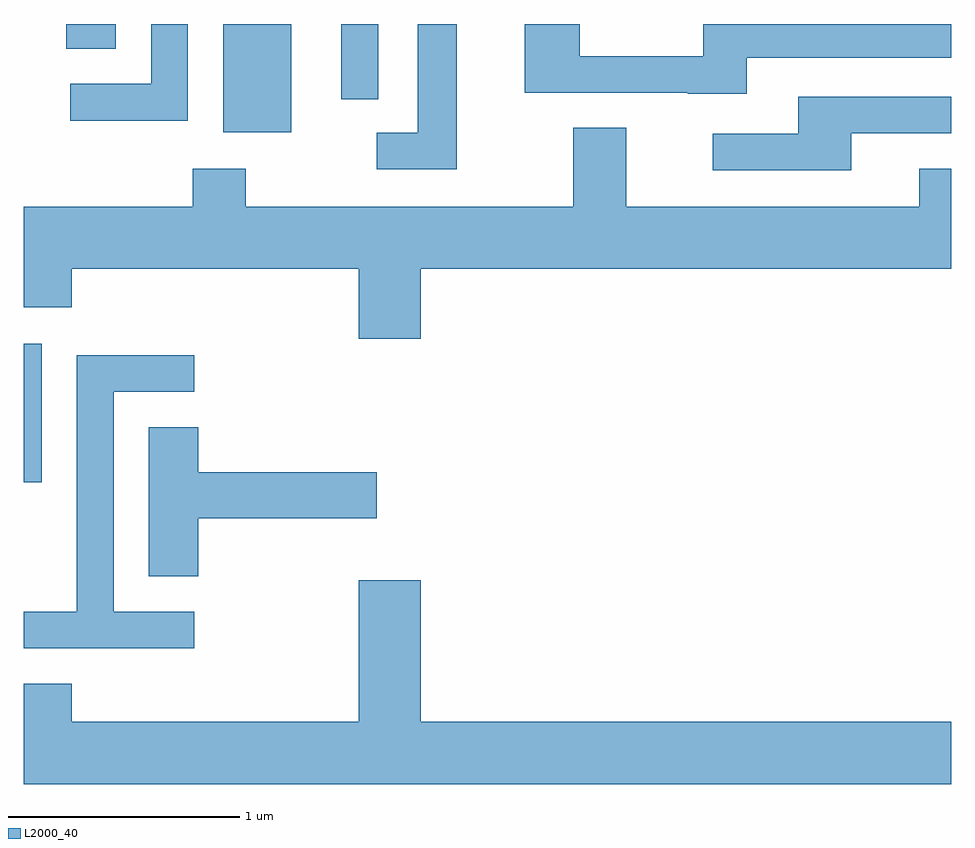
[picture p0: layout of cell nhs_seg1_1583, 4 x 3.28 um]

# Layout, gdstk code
import gdstk
lib = gdstk.Library(unit=1e-6, precision=1e-09)
def R(c, l, rs):  # rectangles x0, y0, x1, y1
    for r in rs: c.add(gdstk.rectangle(r[:2], r[2:], *l))
def P(c, l, *ps):  # polygons
    for p in ps: c.add(gdstk.Polygon(p, *l))
L2000_40 = (2000, 40)

nhs_seg1_1583 = lib.new_cell('nhs_seg1_1583')
R(nhs_seg1_1583, L2000_40, [(233.611,929.736,233.689,930.334), (234.471,931.246,234.764,931.712), (234.981,931.388,235.139,931.712), (233.796,931.606,234.009,931.712)])
P(nhs_seg1_1583, L2000_40, [(236.729,931.566),(237.611,931.566),(237.611,931.712),(236.541,931.712),(236.541,931.574),(236.009,931.574),(236.009,931.712),(235.771,931.712),(235.771,931.416),(236.475,931.416),(236.475,931.411),(236.729,931.411)],
  [(234.319,931.712),(234.161,931.712),(234.161,931.454),(233.813,931.454),(233.813,931.296),(234.319,931.296)],
  [(235.479,931.712),(235.311,931.712),(235.311,931.244),(235.133,931.244),(235.133,931.086),(235.479,931.086)],
  [(237.179,931.241),(237.611,931.241),(237.611,931.399),(236.951,931.399),(236.951,931.239),(236.583,931.239),(236.583,931.081),(237.179,931.081)],
  [(235.324,930.656),(237.611,930.656),(237.611,931.089),(237.471,931.089),(237.471,930.924),(236.209,930.924),(236.209,931.264),(235.981,931.264),(235.981,930.924),(234.569,930.924),(234.569,931.089),(234.341,931.089),(234.341,930.924),(233.611,930.924),(233.611,930.491),(233.819,930.491),(233.819,930.656),(235.056,930.656),(235.056,930.356),(235.324,930.356)],
  [(234.348,929.179),(233.999,929.179),(233.999,930.126),(234.348,930.126),(234.348,930.284),(233.841,930.284),(233.841,929.179),(233.611,929.179),(233.611,929.021),(234.348,929.021)],
  [(234.364,929.581),(235.134,929.581),(235.134,929.779),(234.364,929.779),(234.364,929.974),(234.151,929.974),(234.151,929.331),(234.364,929.331)],
  [(237.611,928.704),(235.324,928.704),(235.324,929.314),(235.056,929.314),(235.056,928.704),(233.819,928.704),(233.819,928.869),(233.611,928.869),(233.611,928.436),(237.611,928.436)])

lib.write_gds('nhs_seg1_1583.gds')
